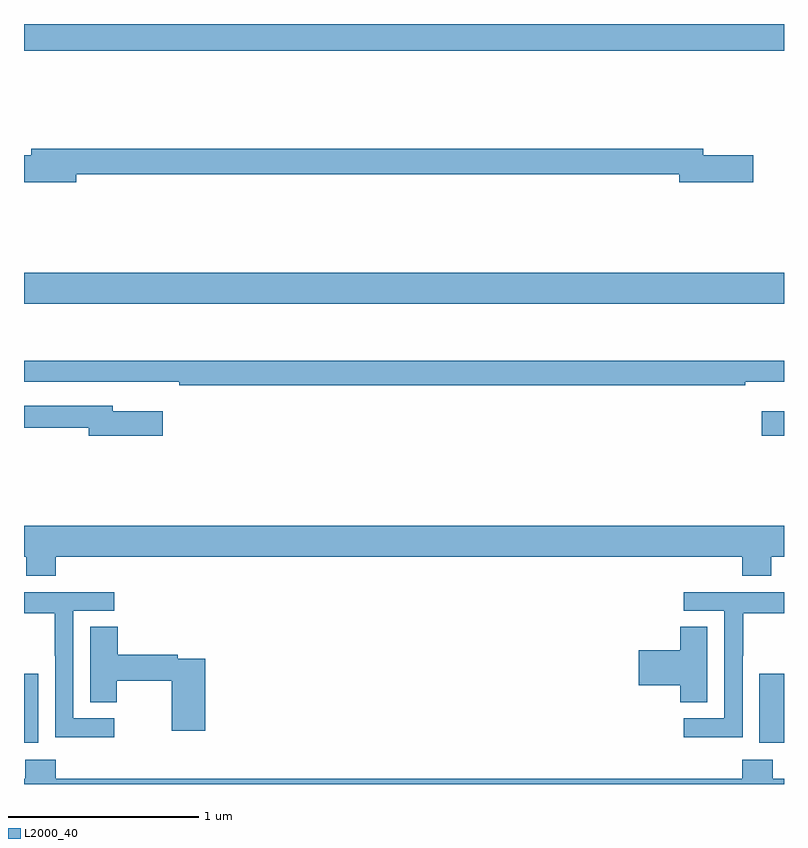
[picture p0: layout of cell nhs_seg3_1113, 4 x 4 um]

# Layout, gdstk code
import gdstk
lib = gdstk.Library(unit=1e-6, precision=1e-09)
def R(c, l, rs):  # rectangles x0, y0, x1, y1
    for r in rs: c.add(gdstk.rectangle(r[:2], r[2:], *l))
def P(c, l, *ps):  # polygons
    for p in ps: c.add(gdstk.Polygon(p, *l))
L2000_40 = (2000, 40)

nhs_seg3_1113 = lib.new_cell('nhs_seg3_1113')
R(nhs_seg3_1113, L2000_40, [(169,686.618,169.075,686.979), (172.871,686.618,173,686.979), (172.884,688.234,173,688.363), (169,688.928,173,689.092), (169,690.26,173,690.4)])
P(nhs_seg3_1113, L2000_40, [(169.276,689.608),(172.448,689.608),(172.448,689.566),(172.837,689.566),(172.837,689.708),(172.576,689.708),(172.576,689.744),(169.037,689.744),(169.037,689.708),(169,689.708),(169,689.566),(169.276,689.566)],
  [(172.796,688.518),(173,688.518),(173,688.627),(169,688.627),(169,688.518),(169.564,688.518),(169.564,688.517),(169.816,688.517),(169.816,688.498),(172.796,688.498)],
  [(169.729,688.363),(169.468,688.363),(169.468,688.392),(169,688.392),(169,688.276),(169.34,688.276),(169.34,688.234),(169.729,688.234)],
  [(169.166,687.596),(172.781,687.596),(172.781,687.497),(172.933,687.497),(172.933,687.596),(173,687.596),(173,687.76),(169,687.76),(169,687.596),(169.013,687.596),(169.013,687.497),(169.166,687.497)],
  [(169.474,686.745),(169.26,686.745),(169.26,687.312),(169.474,687.312),(169.474,687.408),(169,687.408),(169,687.3),(169.162,687.3),(169.162,687.076),(169.164,687.076),(169.164,686.647),(169.474,686.647)],
  [(172.782,687.076),(172.785,687.076),(172.785,687.3),(173,687.3),(173,687.408),(172.473,687.408),(172.473,687.312),(172.686,687.312),(172.686,686.745),(172.473,686.745),(172.473,686.647),(172.782,686.647)],
  [(172.597,687.227),(172.454,687.227),(172.454,687.104),(172.236,687.104),(172.236,686.921),(172.454,686.921),(172.454,686.83),(172.597,686.83)],
  [(169.955,687.06),(169.808,687.06),(169.808,687.08),(169.493,687.08),(169.493,687.227),(169.349,687.227),(169.349,686.83),(169.488,686.83),(169.488,686.944),(169.777,686.944),(169.777,686.679),(169.955,686.679)],
  [(173,686.428),(172.941,686.428),(172.941,686.527),(172.781,686.527),(172.781,686.428),(169.166,686.428),(169.166,686.527),(169.006,686.527),(169.006,686.428),(169,686.428),(169,686.4),(173,686.4)])

lib.write_gds('nhs_seg3_1113.gds')
